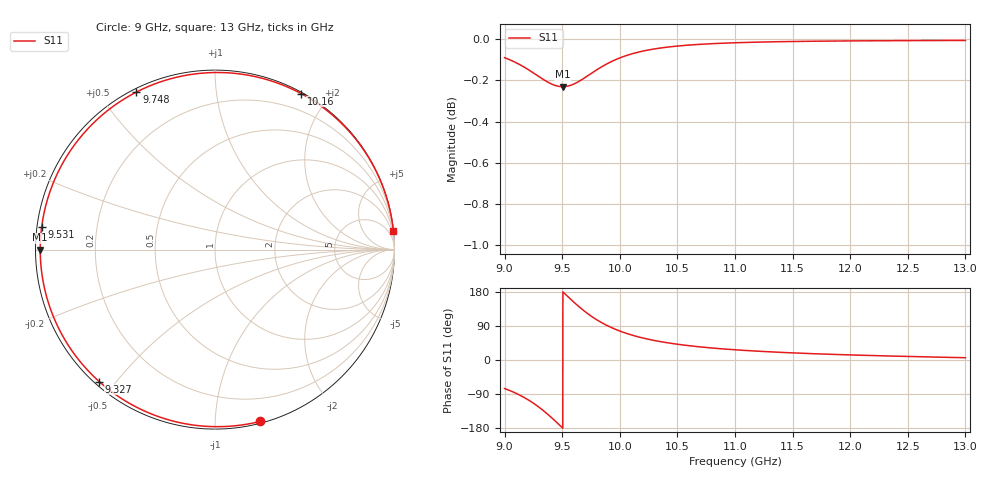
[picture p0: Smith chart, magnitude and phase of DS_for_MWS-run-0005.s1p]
! TOUCHSTONE file generated by CST DESIGN STUDIO
! Date and time: Tue Feb  4 14:14:34 2025
! Project name: C:\Work\MatlabApps\UnitCellOptimizationMatlab\CST\unitcell.cst
! Tree item: Tasks\Sweep1\SPara1\S-Parameters
! Header version: 2024
! Port assignment regex: !\s*Touchstone port\s*([0-9]+)\s*=\s*(CST MWS port|CST DES external port|CST DES block port)\s*(.+)\s* \(\"(.*)\"\)(\s*mode\s*([0-9]+))?.*
! Touchstone port assignment:
! Touchstone port 1 = CST DES external port 1 ("")
# GHz S MA R 50
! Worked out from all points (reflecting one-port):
!   4001 points, 9 GHz to 13 GHz, reference 50 ohm
!   lowest |S11| = -0.2 dB at 9.505 GHz (marker M1), VSWR 75.45, Z = 0.663 - j0.0248 ohm
!   phase of S11 starts at -75 deg and turns -279 deg over the sweep
!   S11 on the Smith chart (normalised r, x): 9 GHz: 0.01, -1.30; 9.327 GHz: 0.01, -0.45; 9.531 GHz: 0.01, +0.07; 9.748 GHz: 0.01, +0.62; 10.16 GHz: 0.01, +1.70; 13 GHz: 0, +19
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9  0.9898 -75.3
9.087  0.9874 -86.2
9.189  0.9838 -102.3
9.261  0.9809 -116.3
9.327  0.9781 -131.2
9.373  0.9764 -142.8
9.422  0.9749 -156.1
9.462  0.9741 -167.5
9.5  0.9738 -178.5
9.505  0.9738 -179.9
9.531  0.974 172.5
9.585  0.9749 157.1
9.645  0.9767 140.8
9.696  0.9787 128.2
9.748  0.9809 116.5
9.8  0.9831 106.1
9.857  0.9853 96.1
9.928  0.9877 85.5
10  0.9897 76.4
10.161  0.9929 61.0
10.315  0.9948 50.6
10.5  0.9962 41.6
10.722  0.9973 33.8
11  0.9981 26.9
11.5  0.9988 18.8
12  0.9991 13.4
12.5  0.9993 9.3
13  0.9994 6.0
